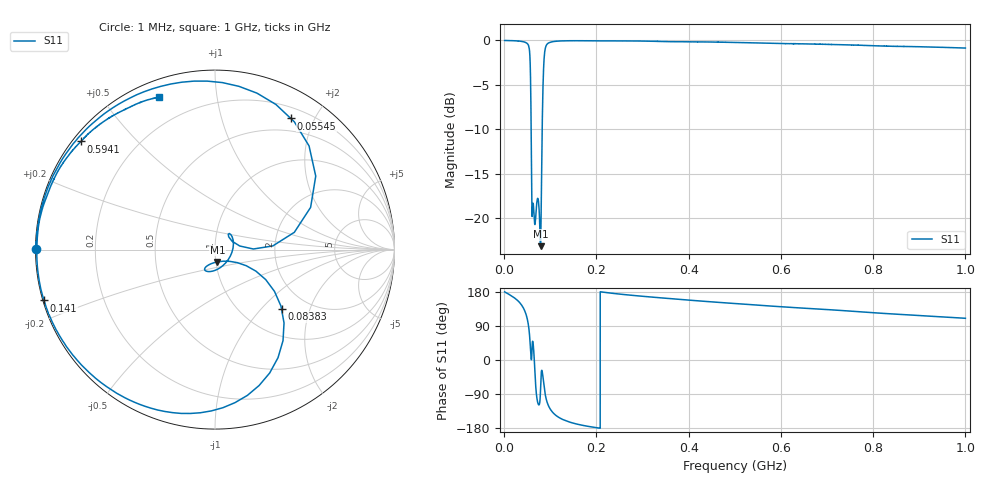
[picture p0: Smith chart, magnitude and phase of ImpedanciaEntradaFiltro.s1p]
# Hz S DB R 50
! CMT, S5048, 17087083, 18.1.5/2
! Date: 07/03/2018 16:24:40
! Data: Format (Calibration Info)
! Freq  S11: dB/Ang (F2)
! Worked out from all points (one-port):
!   10000 points, 1 MHz to 1 GHz, reference 50 ohm
!   lowest |S11| = -23.1 dB at 78.83 MHz (marker M1), VSWR 1.15, Z = 50.9 - j7 ohm
!   |S11| at or under -10 dB: 58.58 MHz to 82.43 MHz (23.85 MHz wide, 33.8 % of centre)
!   S11 on the Smith chart (normalised r, x): 1 MHz: 0.00, +0.00; 55.45 MHz: 0.33, +1.69; 83.83 MHz: 1.50, -1.31; 141 MHz: 0.00, -0.15; 594.1 MHz: 0.02, +0.35; 1 GHz: 0.07, +0.70
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1000000  -0.02 179.8
2.517822e7  -0.05 161.3
3.916562e7  -0.13 142.5
4.565977e7  -0.22 126.7
5.035554e7  -0.38 107.2
5.325293e7  -0.63 86.6
5.545095e7  -1.46 59.8
5.844824e7  -9.28 4.8
6.10459e7  -19.52 44.7
6.424302e7  -19.11 22.6
7.393429e7  -17.91 -116.5
7.882988e7  -23.12 -78.6
8.382538e7  -6.08 -41.5
8.742214e7  -1.55 -78.4
9.231773e7  -0.48 -108.1
9.721332e7  -0.28 -123.6
1.038074e8  -0.17 -136.1
1.258875e8  -0.07 -156.3
1.409739e8  -0.05 -163.5
1.85234e8  -0.05 -175.7
2.50775e8  -0.07 173.9
3.756625e8  -0.16 160.5
5.0055e8  -0.24 149.0
5.940657e8  -0.36 141.1
6.254374e8  -0.38 138.7
7.503249e8  -0.52 129.0
8.752124e8  -0.70 119.1
1e9  -0.87 110.1
